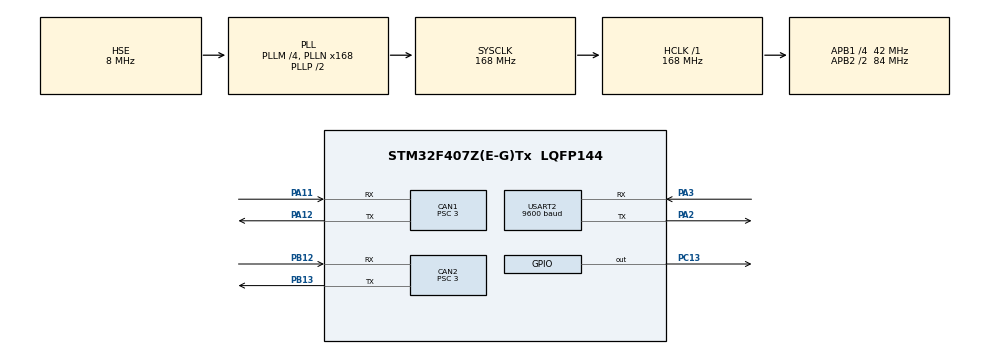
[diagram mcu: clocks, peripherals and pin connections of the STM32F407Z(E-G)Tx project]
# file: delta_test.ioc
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CAN1.BS1=CAN_BS1_7TQ
CAN1.BS2=CAN_BS2_6TQ
CAN1.CalculateBaudRate=1000000
CAN1.CalculateTimeBit=1000
CAN1.CalculateTimeQuantum=71.42857142857143
CAN1.Prescaler=3
CAN2.BS1=CAN_BS1_7TQ
CAN2.BS2=CAN_BS2_6TQ
CAN2.CalculateBaudRate=1000000
CAN2.CalculateTimeBit=1000
CAN2.CalculateTimeQuantum=71.42857142857143
CAN2.Prescaler=3
Mcu.Family=STM32F4
Mcu.Name=STM32F407Z(E-G)Tx
Mcu.Package=LQFP144
NVIC.CAN1_RX0_IRQn=true\:0\:0\:false\:false\:true\:true\:true\:true
NVIC.CAN1_TX_IRQn=true\:0\:0\:false\:false\:true\:true\:true\:true
NVIC.CAN2_RX0_IRQn=true\:0\:0\:false\:false\:true\:true\:true\:true
NVIC.CAN2_TX_IRQn=true\:0\:0\:false\:false\:true\:true\:true\:true
NVIC.PriorityGroup=NVIC_PRIORITYGROUP_4
NVIC.TIM1_UP_TIM10_IRQn=true\:0\:0\:false\:false\:true\:true\:true\:true
NVIC.USART2_IRQn=true\:0\:0\:false\:false\:true\:true\:true\:true
PA11.Mode=CAN_Activate
PA11.Signal=CAN1_RX
PA12.Mode=CAN_Activate
PA12.Signal=CAN1_TX
PA13.Mode=Serial_Wire
PA13.Signal=SYS_JTMS-SWDIO
PA14.Mode=Serial_Wire
PA14.Signal=SYS_JTCK-SWCLK
PA2.Mode=Asynchronous
PA2.Signal=USART2_TX
PA3.Mode=Asynchronous
PA3.Signal=USART2_RX
PB12.Mode=CAN_Activate
PB12.Signal=CAN2_RX
PB13.Mode=CAN_Activate
PB13.Signal=CAN2_TX
PC13-ANTI_TAMP.Signal=GPIO_Output
PH0-OSC_IN.Mode=HSE-External-Oscillator
PH0-OSC_IN.Signal=RCC_OSC_IN
PH1-OSC_OUT.Mode=HSE-External-Oscillator
PH1-OSC_OUT.Signal=RCC_OSC_OUT
ProjectManager.HeapSize=0x200
ProjectManager.StackSize=0x400
ProjectManager.TargetToolchain=MDK-ARM V5.32
RCC.48MHZClocksFreq_Value=84000000
RCC.AHBFreq_Value=168000000
RCC.APB1CLKDivider=RCC_HCLK_DIV4
RCC.APB1Freq_Value=42000000
RCC.APB1TimFreq_Value=84000000
RCC.APB2CLKDivider=RCC_HCLK_DIV2
RCC.APB2Freq_Value=84000000
RCC.APB2TimFreq_Value=168000000
RCC.CortexFreq_Value=168000000
RCC.HCLKFreq_Value=168000000
RCC.HSE_VALUE=8000000
RCC.HSI_VALUE=16000000
RCC.LSE_VALUE=32768
RCC.PLLM=4
RCC.PLLN=168
RCC.PLLSourceVirtual=RCC_PLLSOURCE_HSE
RCC.SYSCLKFreq_VALUE=168000000
RCC.SYSCLKSource=RCC_SYSCLKSOURCE_PLLCLK
RCC.VCOOutputFreq_Value=336000000
TIM1.Period=10000
TIM1.Prescaler=1680
USART2.BaudRate=9600
USART2.VirtualMode=VM_ASYNC
VP_TIM1_VS_ClockSourceINT.Mode=Internal
board=custom

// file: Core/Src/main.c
/* USER CODE BEGIN Header */
/**
  ******************************************************************************
  * @file           : main.c
  * @brief          : Main program body
  ******************************************************************************
  * @attention
  *
  * Copyright (c) 2025 STMicroelectronics.
  * All rights reserved.
  *
  * This software is licensed under terms that can be found in the LICENSE file
  * in the root directory of this software component.
  * If no LICENSE file comes with this software, it is provided AS-IS.
  *
  ******************************************************************************
  */
/* USER CODE END Header */
#include "main.h"
#include "can.h"
#include "tim.h"
#include "usart.h"
#include "gpio.h"

/* USER CODE BEGIN Includes */
#include "include.h"
#include "F_Resolve.h"
#include "hwt605_driver.h"
#include "delta_clac.h"
#define PID_M_PI 3.1415926
float tran_coef = PID_M_PI*60;
/* USER CODE END Includes */

void SystemClock_Config(void);

/* USER CODE BEGIN 0 */
//*******************************************************
extern float D_theta[3];
extern float zero_theta;
//******************************************************
//extern UART_HandleTypeDef huart2;

//// 串口中断回调转发给驱动层处理
//void HAL_UART_RxCpltCallback(UART_HandleTypeDef *huart) {
//    HWT605_UART_IRQHandler(huart);
//}
//******************************************************
//float w1;
//float w2;
//float w3;
//void pid_pos_classic_1(float set_pos_x,float set_pos_y){
//	w1 = set_pos_x/tran_coef;
//	w2 = -set_pos_x/tran_coef -set_pos_y/tran_coef;
//	w3 = -set_pos_x/tran_coef +set_pos_y/tran_coef;
//}

//*****************************************************
/* USER CODE END 0 */

int main(void)
{

  /* MCU Configuration--------------------------------------------------------*/

  /* Reset of all peripherals, Initializes the Flash interface and the Systick. */
  HAL_Init();

  /* Configure the system clock */
  SystemClock_Config();

  /* Initialize all configured peripherals */
  MX_GPIO_Init();
  MX_CAN1_Init();
  MX_CAN2_Init();
  MX_TIM1_Init();
  MX_USART2_UART_Init();
  /* USER CODE BEGIN 2 */
  extern uint8_t step;
	extern uint8_t move;

	PID_devices_Init();
	CAN1_Filter_Init();
	CAN2_Filter_Init();

	CAN_Start(&hcan1);
	CAN_Start(&hcan2);
	HAL_TIM_Base_Start_IT(&htim1);

//	HWT605_Init(&huart2);
//	uint8_t zero_goal=0;

  /* USER CODE END 2 */

  /* Infinite loop */
  /* USER CODE BEGIN WHILE */
double move_zero = 78/360*8191*3591/187;

    /* USER CODE END WHILE */

    /* USER CODE BEGIN 3 */
		while(1)
		{
        CAN1_CMD_2(pid_call_1(-20.0f/360.0f*8191.0f*3591.0f/187.0f,5),pid_call_1(-20.0f/360.0f*8191.0f*3591.0f/187.0f,6),pid_call_1(-20.0f/360.0f*8191.0f*3591.0f/187.0f,7),0);

			 	HAL_Delay(1);
		}

//		 while(zero_goal)
//		 {

//		 }
  /* USER CODE END 3 */
}

void SystemClock_Config(void)
{
  RCC_OscInitTypeDef RCC_OscInitStruct = {0};
  RCC_ClkInitTypeDef RCC_ClkInitStruct = {0};

  /** Configure the main internal regulator output voltage
  */
  __HAL_RCC_PWR_CLK_ENABLE();
  __HAL_PWR_VOLTAGESCALING_CONFIG(PWR_REGULATOR_VOLTAGE_SCALE1);

  /** Initializes the RCC Oscillators according to the specified parameters
  * in the RCC_OscInitTypeDef structure.
  */
  RCC_OscInitStruct.OscillatorType = RCC_OSCILLATORTYPE_HSE;
  RCC_OscInitStruct.HSEState = RCC_HSE_ON;
  RCC_OscInitStruct.PLL.PLLState = RCC_PLL_ON;
  RCC_OscInitStruct.PLL.PLLSource = RCC_PLLSOURCE_HSE;
  RCC_OscInitStruct.PLL.PLLM = 4;
  RCC_OscInitStruct.PLL.PLLN = 168;
  RCC_OscInitStruct.PLL.PLLP = RCC_PLLP_DIV2;
  RCC_OscInitStruct.PLL.PLLQ = 4;
  if (HAL_RCC_OscConfig(&RCC_OscInitStruct) != HAL_OK)
  {
    Error_Handler();
  }

  /** Initializes the CPU, AHB and APB buses clocks
  */
  RCC_ClkInitStruct.ClockType = RCC_CLOCKTYPE_HCLK|RCC_CLOCKTYPE_SYSCLK
                              |RCC_CLOCKTYPE_PCLK1|RCC_CLOCKTYPE_PCLK2;
  RCC_ClkInitStruct.SYSCLKSource = RCC_SYSCLKSOURCE_PLLCLK;
  RCC_ClkInitStruct.AHBCLKDivider = RCC_SYSCLK_DIV1;
  RCC_ClkInitStruct.APB1CLKDivider = RCC_HCLK_DIV4;
  RCC_ClkInitStruct.APB2CLKDivider = RCC_HCLK_DIV2;

  if (HAL_RCC_ClockConfig(&RCC_ClkInitStruct, FLASH_LATENCY_5) != HAL_OK)
  {
    Error_Handler();
  }
}

void Error_Handler(void)
{
  __disable_irq();
   while (1)
  {
  }
}
